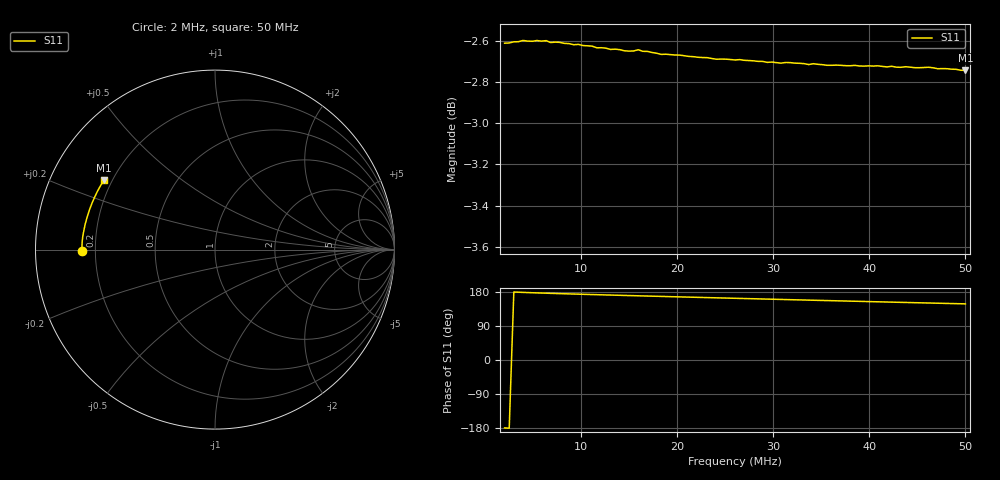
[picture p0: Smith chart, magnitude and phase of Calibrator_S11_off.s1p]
# Hz S RI R 50
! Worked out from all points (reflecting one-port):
!   101 points, 2 MHz to 50 MHz, reference 50 ohm
!   lowest |S11| = -2.7 dB at 50 MHz (marker M1), VSWR 6.39, Z = 8.45 + j13.9 ohm
!   phase of S11 starts at -179 deg and turns -33 deg over the sweep
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2000000  -0.7404 -0.0105
2480000  -0.7405 -0.000765
2960000  -0.741 0.00713
3920000  -0.7413 0.0205
4880000  -0.7405 0.0322
5840000  -0.74 0.043
6320000  -0.7399 0.0478
6800000  -0.7388 0.0529
8240000  -0.7373 0.0673
1.112e7  -0.7332 0.0941
1.4e7  -0.7281 0.119
1.544e7  -0.7255 0.1308
1.592e7  -0.7252 0.1355
1.832e7  -0.7192 0.1553
2.024e7  -0.7153 0.1712
2.6e7  -0.7008 0.2165
2.792e7  -0.6959 0.2308
3.224e7  -0.6831 0.2637
3.368e7  -0.6784 0.274
3.416e7  -0.6774 0.2774
3.8e7  -0.6645 0.305
4.088e7  -0.6548 0.3253
4.136e7  -0.6531 0.3281
4.232e7  -0.6495 0.3352
4.424e7  -0.6424 0.3479
4.616e7  -0.6353 0.3606
4.808e7  -0.6272 0.3733
5e7  -0.6193 0.3852
